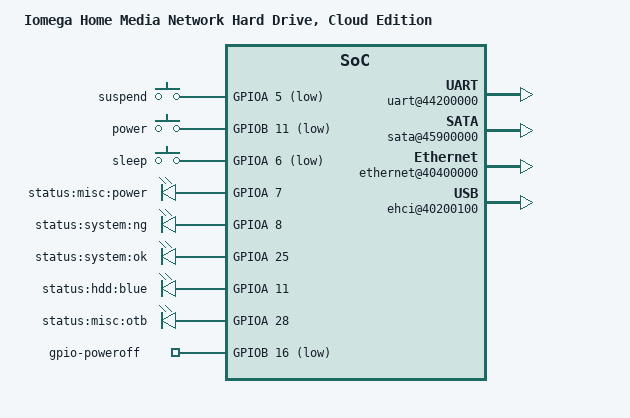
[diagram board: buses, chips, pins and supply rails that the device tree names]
/*
 * Copyright (C) 2013 Ma Haijun <mahaijuns@gmail.com>
 *
 * This program is free software; you can redistribute it and/or modify
 * it under the terms of the GNU General Public License version 2 as
 * published by the Free Software Foundation.
 */

/dts-v1/;
#include "ox820.dtsi"

/ {
	model = "Iomega Home Media Network Hard Drive, Cloud Edition";

	chosen {
		bootargs = "console=ttyS0,115200n8 root=/dev/sda1 rootfstype=ext4";
	};

	uart@44200000 {
		status = "okay";
	};

	sata@45900000 {
		status = "okay";
	};

	ethernet@40400000 {
		status = "okay";
	};

	ehci@40200100 {
		status = "okay";
	};

	pinctrl {
		leds {
			pinctrl_leds: leds-0 {
				plxtech,pins =
					<0 7 0 0	/* MF_A7 */
					 0 8 0 0	/* MF_A8 */
					 0 11 0 0	/* MF_A11 */
					 0 25 0 0	/* MF_A25 */
					 0 28 0 0>;	/* MF_A28 */
			};
		};
		keys {
			pinctrl_keys: keys-0 {
				plxtech,pins =
					<0 5 0 0	/* MF_A5 */
					 1 11 0 0	/* MF_B11 */
					 0 6 0 0>;	/* MF_A6 */
			};
		};
	};
	gpio-keys {
		compatible = "gpio-keys-polled";
		pinctrl-names = "default";
		pinctrl-0 = <&pinctrl_keys>;
		poll-interval = <100>;
		suspend {
			label = "suspend";
			gpios = <&GPIOA 5 1>;
			linux,code = <0xcd>;
		};
		power {
			label = "power";
			gpios = <&GPIOB 11 1>;
			linux,code = <0x74>;
		};
		sleep {
			label = "sleep";
			gpios = <&GPIOA 6 1>;
			linux,code = <0x8e>;
		};
	};

	leds {
		compatible = "gpio-leds";
		pinctrl-names = "default";
		pinctrl-0 = <&pinctrl_leds>;

		statuspower {
			label = "status:misc:power";
			gpios = <&GPIOA 7 0>;
			default-state = "on";
		};
		statussysng {
			label = "status:system:ng";
			gpios = <&GPIOA 8 0>;
			default-state = "off";
		};
		statussysok {
			label = "status:system:ok";
			gpios = <&GPIOA 25 0>;
			default-state = "off";
		};
		statushdd {
			label = "status:hdd:blue";
			gpios = <&GPIOA 11 0>;
			linux,default-trigger = "satadisk";
		};
		statusotb {
			label = "status:misc:otb";
			gpios = <&GPIOA 28 0>;
			default-state = "off";
		};
	};
	gpio-poweroff {
		compatible = "gpio-poweroff";
		gpios = <&GPIOB 16 1>;
	};
};
